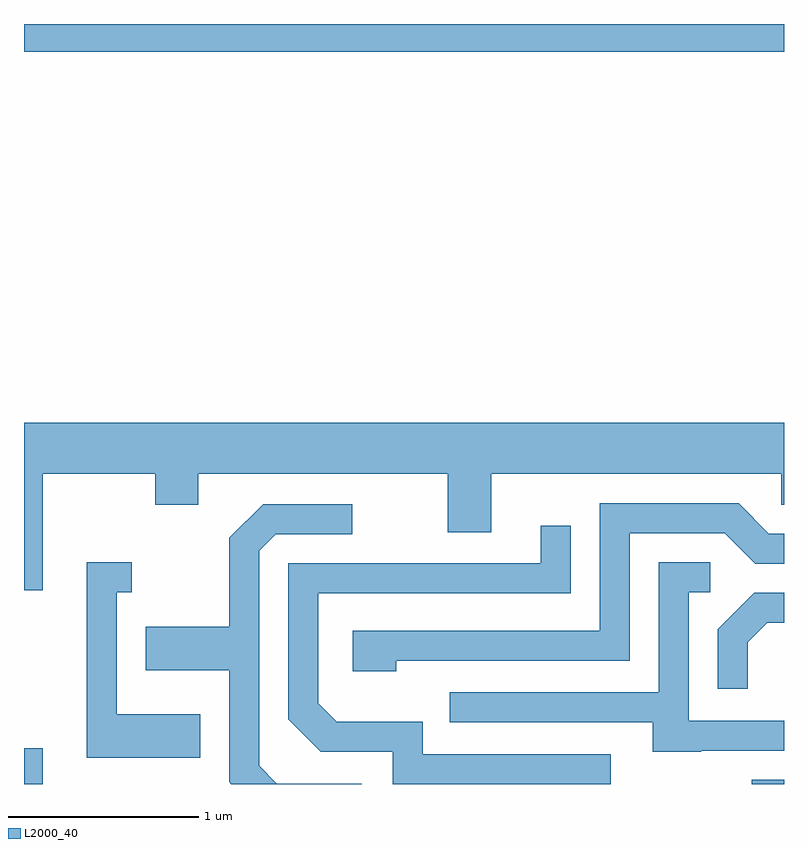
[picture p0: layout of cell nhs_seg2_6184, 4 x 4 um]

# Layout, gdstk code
import gdstk
lib = gdstk.Library(unit=1e-6, precision=1e-09)
def R(c, l, rs):  # rectangles x0, y0, x1, y1
    for r in rs: c.add(gdstk.rectangle(r[:2], r[2:], *l))
def P(c, l, *ps):  # polygons
    for p in ps: c.add(gdstk.Polygon(p, *l))
L2000_40 = (2000, 40)

nhs_seg2_6184 = lib.new_cell('nhs_seg2_6184')
R(nhs_seg2_6184, L2000_40, [(367.611,1037.802,367.709,1037.989), (371.441,1037.802,371.611,1037.824), (367.611,1041.656,371.611,1041.802)])
P(nhs_seg2_6184, L2000_40, [(367.709,1039.436),(368.301,1039.436),(368.301,1039.271),(368.529,1039.271),(368.529,1039.436),(369.841,1039.436),(369.841,1039.126),(370.069,1039.126),(370.069,1039.436),(371.596,1039.436),(371.596,1039.271),(371.611,1039.271),(371.611,1039.704),(367.611,1039.704),(367.611,1038.821),(367.709,1038.821)],
  [(369.569,1038.451),(370.799,1038.451),(370.799,1039.121),(371.299,1039.121),(371.459,1038.961),(371.611,1038.961),(371.611,1039.119),(371.532,1039.119),(371.372,1039.279),(370.641,1039.279),(370.641,1038.609),(369.341,1038.609),(369.341,1038.396),(369.569,1038.396)],
  [(369.388,1037.804),(368.942,1037.804),(368.849,1037.897),(368.849,1039.029),(368.937,1039.116),(369.338,1039.116),(369.338,1039.274),(368.869,1039.274),(368.691,1039.097),(368.691,1038.629),(368.251,1038.629),(368.251,1038.401),(368.691,1038.401),(368.691,1037.814),(368.703,1037.802),(369.388,1037.802)],
  [(370.699,1037.959),(369.709,1037.959),(369.709,1038.129),(369.257,1038.129),(369.159,1038.227),(369.159,1038.806),(370.489,1038.806),(370.489,1039.162),(370.331,1039.162),(370.331,1038.964),(369.001,1038.964),(369.001,1038.144),(369.174,1037.971),(369.551,1037.971),(369.551,1037.802),(370.699,1037.802)],
  [(371.175,1037.976),(371.611,1037.976),(371.611,1038.134),(371.109,1038.134),(371.109,1038.811),(371.223,1038.811),(371.223,1038.969),(370.951,1038.969),(370.951,1038.284),(369.853,1038.284),(369.853,1038.126),(370.921,1038.126),(370.921,1037.971),(371.175,1037.971)],
  [(368.539,1038.169),(368.099,1038.169),(368.099,1038.811),(368.178,1038.811),(368.178,1038.969),(367.941,1038.969),(367.941,1037.941),(368.539,1037.941)],
  [(371.419,1038.549),(371.522,1038.651),(371.611,1038.651),(371.611,1038.809),(371.454,1038.809),(371.261,1038.617),(371.261,1038.303),(371.419,1038.303)])

lib.write_gds('nhs_seg2_6184.gds')
